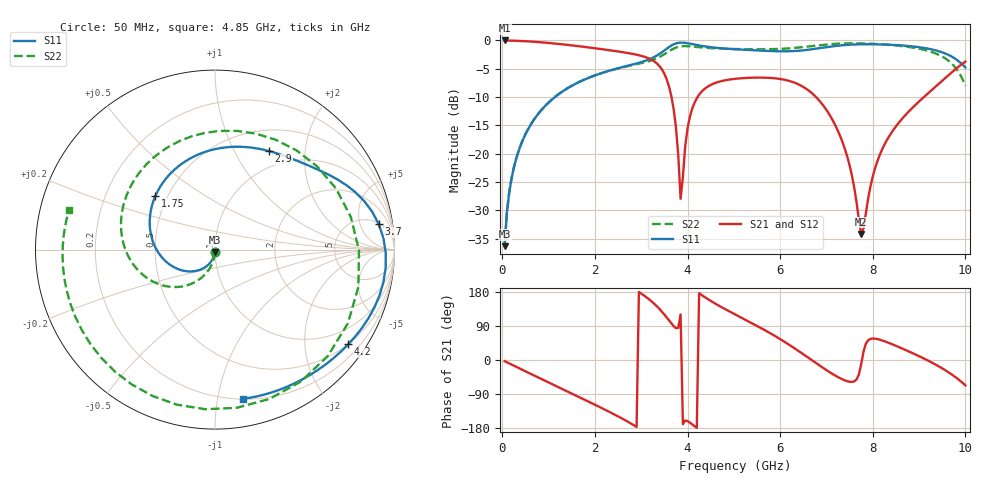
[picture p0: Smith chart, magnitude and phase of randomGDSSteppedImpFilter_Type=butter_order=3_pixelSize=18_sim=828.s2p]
! freq	dB(S11)	phase(S11)	dB(S12)	phase(S12)
!  dB(S21)	phase(S21)	dB(S22)	phase(S22)
!S-par simulation data
#  GHz  S  DB  R 50
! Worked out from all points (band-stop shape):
!   200 points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, 50 MHz to 10 GHz, reference 50 ohm
!   highest |S21| = 0.00 dB at 50 MHz (marker M1); lowest = -34.2 dB at 7.75 GHz (marker M2)
!   |S21| within 3 dB of the highest: start of sweep to 3.112 GHz
!   lowest |S11| = -36.3 dB at 50 MHz (marker M3), VSWR 1.03, Z = 49.9 - j1.52 ohm
!   |S11| at or under -10 dB: start of sweep to 1.136 GHz
!   |S22| runs from -36.3 to -0.5 dB; largest |S21 - S12| = 0
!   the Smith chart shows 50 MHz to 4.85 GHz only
!   S11 on the Smith chart (normalised r, x): 50 MHz: 1.00, -0.03; 1.75 GHz: 0.43, +0.32; 2.9 GHz: 0.77, +1.39; 3.7 GHz: 5, +10; 4.2 GHz: 0.49, -3.06; 4.85 GHz: 0.20, -1.18
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0.05  -36.32 -93.9  -0.00 -3.0  -0.00 -3.0  -36.32 -92.2
0.2  -24.35 -105.6  -0.04 -12.0  -0.04 -12.0  -24.32 -98.7
0.5  -16.58 -128.9  -0.14 -29.8  -0.14 -29.8  -16.55 -111.8
1.15  -9.91 -178.0  -0.56 -68.1  -0.56 -68.1  -9.88 -139.6
1.75  -7.00 138.1  -1.12 -103.2  -1.12 -103.2  -6.98 -165.9
2.9  -4.06 61.2  -2.52 -176.6  -2.52 -176.6  -4.21 123.9
3.4  -2.35 32.7  -4.59 134.0  -4.59 134.0  -2.91 50.6
3.7  -0.69 8.8  -12.11 89.3  -12.11 89.3  -1.45 -29.0
3.85  -0.39 -6.1  -27.95 120.1  -27.95 120.1  -1.06 -70.1
4  -0.49 -19.8  -15.54 -161.2  -15.54 -161.2  -1.02 -103.7
4.2  -0.81 -35.4  -10.21 -179.2  -10.21 -179.2  -1.16 -136.5
4.85  -1.46 -79.5  -6.98 131.7  -6.98 131.7  -1.49 164.9
5.05  -1.56 -93.4  -6.76 118.9  -6.76 118.9  -1.52 153.0
5.55  -1.79 -132.5  -6.56 86.7  -6.56 86.7  -1.56 127.8
6  -1.92 -176.3  -6.80 55.2  -6.80 55.2  -1.49 107.9
6.35  -1.85 142.1  -7.59 27.7  -7.59 27.7  -1.29 92.9
6.7  -1.54 96.1  -9.42 -1.9  -9.42 -1.9  -0.97 77.1
7.25  -0.92 29.1  -16.01 -45.2  -16.01 -45.2  -0.57 49.2
7.75  -0.68 -17.0  -34.18 -10.8  -34.18 -10.8  -0.52 22.1
8.35  -0.75 -57.2  -16.97 45.0  -16.97 45.0  -0.78 -11.6
9.35  -1.73 -108.0  -8.20 -11.6  -8.20 -11.6  -2.27 -77.1
10  -4.77 -134.5  -3.74 -66.9  -3.74 -66.9  -8.02 -153.8
